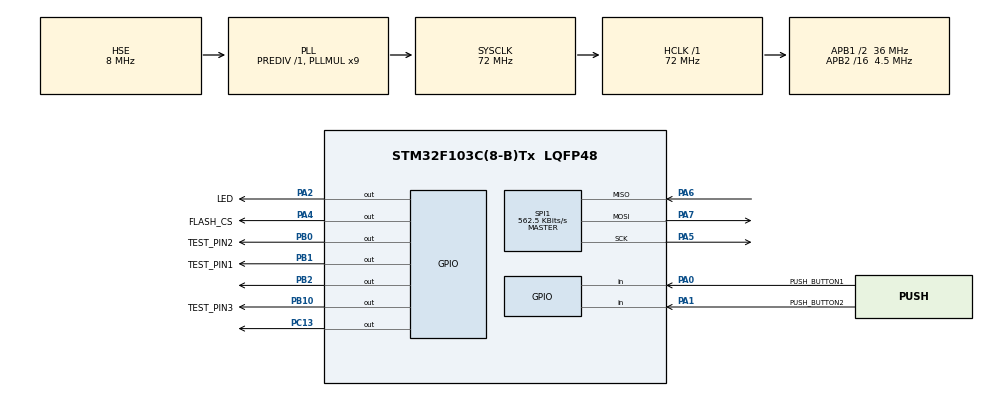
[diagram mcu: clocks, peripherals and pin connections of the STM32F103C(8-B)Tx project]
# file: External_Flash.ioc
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Mcu.Family=STM32F1
Mcu.Name=STM32F103C(8-B)Tx
Mcu.Package=LQFP48
NVIC.PriorityGroup=NVIC_PRIORITYGROUP_4
PA0-WKUP.GPIO_Label=PUSH_BUTTON1
PA0-WKUP.GPIO_PuPd=GPIO_PULLUP
PA0-WKUP.Signal=GPIO_Input
PA1.GPIO_Label=PUSH_BUTTON2
PA1.GPIO_PuPd=GPIO_PULLUP
PA1.Signal=GPIO_Input
PA13.Mode=Serial_Wire
PA13.Signal=SYS_JTMS-SWDIO
PA14.Mode=Serial_Wire
PA14.Signal=SYS_JTCK-SWCLK
PA2.GPIO_Label=LED
PA2.PinState=GPIO_PIN_SET
PA2.Signal=GPIO_Output
PA4.GPIO_Label=FLASH_CS
PA4.Signal=GPIO_Output
PA5.Mode=Full_Duplex_Master
PA5.Signal=SPI1_SCK
PA6.Mode=Full_Duplex_Master
PA6.Signal=SPI1_MISO
PA7.Mode=Full_Duplex_Master
PA7.Signal=SPI1_MOSI
PB0.GPIO_Label=TEST_PIN2
PB0.Signal=GPIO_Output
PB1.GPIO_Label=TEST_PIN1
PB1.Signal=GPIO_Output
PB10.GPIO_Label=TEST_PIN3
PB10.Signal=GPIO_Output
PB2.Signal=GPIO_Output
PC13-TAMPER-RTC.Signal=GPIO_Output
PD0-OSC_IN.Mode=HSE-External-Oscillator
PD0-OSC_IN.Signal=RCC_OSC_IN
PD1-OSC_OUT.Mode=HSE-External-Oscillator
PD1-OSC_OUT.Signal=RCC_OSC_OUT
ProjectManager.HeapSize=0x200
ProjectManager.StackSize=0x400
ProjectManager.TargetToolchain=MDK-ARM V5.32
RCC.AHBFreq_Value=72000000
RCC.APB1CLKDivider=RCC_HCLK_DIV2
RCC.APB1Freq_Value=36000000
RCC.APB1TimFreq_Value=72000000
RCC.APB2CLKDivider=RCC_HCLK_DIV16
RCC.APB2Freq_Value=4500000
RCC.APB2TimFreq_Value=9000000
RCC.HCLKFreq_Value=72000000
RCC.PLLMUL=RCC_PLL_MUL9
RCC.PLLSourceVirtual=RCC_PLLSOURCE_HSE
RCC.SYSCLKFreq_VALUE=72000000
RCC.SYSCLKSource=RCC_SYSCLKSOURCE_PLLCLK
RCC.USBFreq_Value=72000000
SPI1.BaudRatePrescaler=SPI_BAUDRATEPRESCALER_8
SPI1.CalculateBaudRate=562.5 KBits/s
SPI1.Direction=SPI_DIRECTION_2LINES
SPI1.Mode=SPI_MODE_MASTER
SPI1.VirtualType=VM_MASTER
VP_TIM1_VS_ClockSourceINT.Mode=Internal
board=custom

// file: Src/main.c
/* USER CODE BEGIN Header */
/**
  ******************************************************************************
  * @file           : main.c
  * @brief          : Main program body
  ******************************************************************************
  * @attention
  *
  * <h2><center>&copy; Copyright (c) 2021 STMicroelectronics.
  * All rights reserved.</center></h2>
  *
  * This software component is licensed by ST under BSD 3-Clause license,
  * the "License"; You may not use this file except in compliance with the
  * License. You may obtain a copy of the License at:
  *                        opensource.org/licenses/BSD-3-Clause
  *
  ******************************************************************************
  */
/* USER CODE END Header */
#include "main.h"
#include "spi.h"
#include "tim.h"
#include "gpio.h"

/* USER CODE BEGIN Includes */
#include "w25qxx.h"
#include "w25qxxConf.h"
#include <string.h>

/* USER CODE END Includes */

/* USER CODE BEGIN PV */
#define MAX_SECTOR_SIZE 4
#define MAX_DATA_SIZE   3
uint8_t Read_Buf[3];
uint8_t Write_Buf[]= {0,1,2};
uint8_t SectorNum=0,BlockSize=0,incValue=0,sectorSize=0;
uint16_t offsetByte=0;
int X=0;
/* USER CODE END PV */

void SystemClock_Config(void);

int main(void)
{

  /* MCU Configuration--------------------------------------------------------*/

  /* Reset of all peripherals, Initializes the Flash interface and the Systick. */
  HAL_Init();

  /* Configure the system clock */
  SystemClock_Config();

  /* Initialize all configured peripherals */
  MX_GPIO_Init();
  MX_SPI1_Init();
  MX_TIM1_Init();
  /* USER CODE BEGIN 2 */
SectorNum = 1;
W25qxx_Init(); //function insitetited

while(BlockSize < 16) // block of the 16*4096 = 65536(total page of the block 64kb)
{
	HAL_GPIO_WritePin(TEST_PIN1_GPIO_Port,TEST_PIN3_Pin,GPIO_PIN_SET); //set the valve of pin3 in GPIO port
	W25qxx_EraseSector(SectorNum);//sectornum will be erase the sector
	HAL_GPIO_WritePin(TEST_PIN1_GPIO_Port,TEST_PIN3_Pin,GPIO_PIN_RESET); //Reset the valve of pin3 in GPIO port
	offsetByte = 0;
	while(sectorSize < 4) //sectorsize of the 4*16=4096(one page of the sector will splitted the single page4kb)
	{
		Write_Buf[0] = incValue;
		HAL_GPIO_WritePin(TEST_PIN1_GPIO_Port,TEST_PIN2_Pin,GPIO_PIN_SET);//set the valve of pin2
		W25qxx_WriteSector(Write_Buf, SectorNum, offsetByte, MAX_DATA_SIZE);//writeing the valve of pin2
		HAL_GPIO_WritePin(TEST_PIN1_GPIO_Port,TEST_PIN2_Pin,GPIO_PIN_RESET);//Reset the valve of pin2

		HAL_GPIO_WritePin(TEST_PIN1_GPIO_Port,TEST_PIN1_Pin,GPIO_PIN_SET);//set the valve of pin1
		W25qxx_ReadSector(Read_Buf, SectorNum, offsetByte, MAX_DATA_SIZE);//reading the valve of pin1
		HAL_GPIO_WritePin(TEST_PIN1_GPIO_Port,TEST_PIN1_Pin,GPIO_PIN_RESET);//Reset the valve of pin1

		if(memcmp(Write_Buf, Read_Buf, MAX_DATA_SIZE)== 0)//compering the valve will same= 0 set will see and pass
		{
		  sectorSize++;//increamenting sectorsize
			incValue++;//increamenting the incvalue
			offsetByte+=MAX_DATA_SIZE;// checking the offsetbyte + = size of max
		}
	}
	 sectorSize=0;
	 SectorNum++;//increamenting the sectornum of the page in the note book
	 BlockSize++;// increamenting the blocksize of the page in the note book
}
  /* USER CODE END 2 */

  /* Infinite loop */
  while (1)
  {

    /* USER CODE BEGIN 3 */
		if(HAL_GPIO_ReadPin(GPIOA,PUSH_BUTTON1_Pin)==GPIO_PIN_RESET)//Button1 is pressed , Trun ON the led
		{

			(HAL_GPIO_WritePin(GPIOA,LED_Pin,GPIO_PIN_SET));//if pressed led Switch ON
			X=1;//int x=1 the led is ON
		}
			if(HAL_GPIO_ReadPin(GPIOA,PUSH_BUTTON2_Pin)==GPIO_PIN_RESET)//Button2 is pressed, trun OFF the led
		{

			(HAL_GPIO_WritePin(GPIOA,LED_Pin,GPIO_PIN_RESET));//if pressed led Switch OFF
			X=0;//int x=0 the led is OFF
		}

		//HAL_GPIO_TogglePin(GPIOC,GPIO_PIN_13);//continue in-built led will be toggle with GPIOC
   // HAL_Delay(500);//delay 0.5 second
  }
  /* USER CODE END 3 */
}

void SystemClock_Config(void)
{
  RCC_OscInitTypeDef RCC_OscInitStruct = {0};
  RCC_ClkInitTypeDef RCC_ClkInitStruct = {0};

  /** Initializes the RCC Oscillators according to the specified parameters
  * in the RCC_OscInitTypeDef structure.
  */
  RCC_OscInitStruct.OscillatorType = RCC_OSCILLATORTYPE_HSE;
  RCC_OscInitStruct.HSEState = RCC_HSE_ON;
  RCC_OscInitStruct.HSEPredivValue = RCC_HSE_PREDIV_DIV1;
  RCC_OscInitStruct.HSIState = RCC_HSI_ON;
  RCC_OscInitStruct.PLL.PLLState = RCC_PLL_ON;
  RCC_OscInitStruct.PLL.PLLSource = RCC_PLLSOURCE_HSE;
  RCC_OscInitStruct.PLL.PLLMUL = RCC_PLL_MUL9;
  if (HAL_RCC_OscConfig(&RCC_OscInitStruct) != HAL_OK)
  {
    Error_Handler();
  }
  /** Initializes the CPU, AHB and APB buses clocks
  */
  RCC_ClkInitStruct.ClockType = RCC_CLOCKTYPE_HCLK|RCC_CLOCKTYPE_SYSCLK
                              |RCC_CLOCKTYPE_PCLK1|RCC_CLOCKTYPE_PCLK2;
  RCC_ClkInitStruct.SYSCLKSource = RCC_SYSCLKSOURCE_PLLCLK;
  RCC_ClkInitStruct.AHBCLKDivider = RCC_SYSCLK_DIV1;
  RCC_ClkInitStruct.APB1CLKDivider = RCC_HCLK_DIV2;
  RCC_ClkInitStruct.APB2CLKDivider = RCC_HCLK_DIV16;

  if (HAL_RCC_ClockConfig(&RCC_ClkInitStruct, FLASH_LATENCY_2) != HAL_OK)
  {
    Error_Handler();
  }
}

void Error_Handler(void)
{
  __disable_irq();
  while (1)
  {
  }
}

/************************ (C) COPYRIGHT STMicroelectronics *****END OF FILE****/
